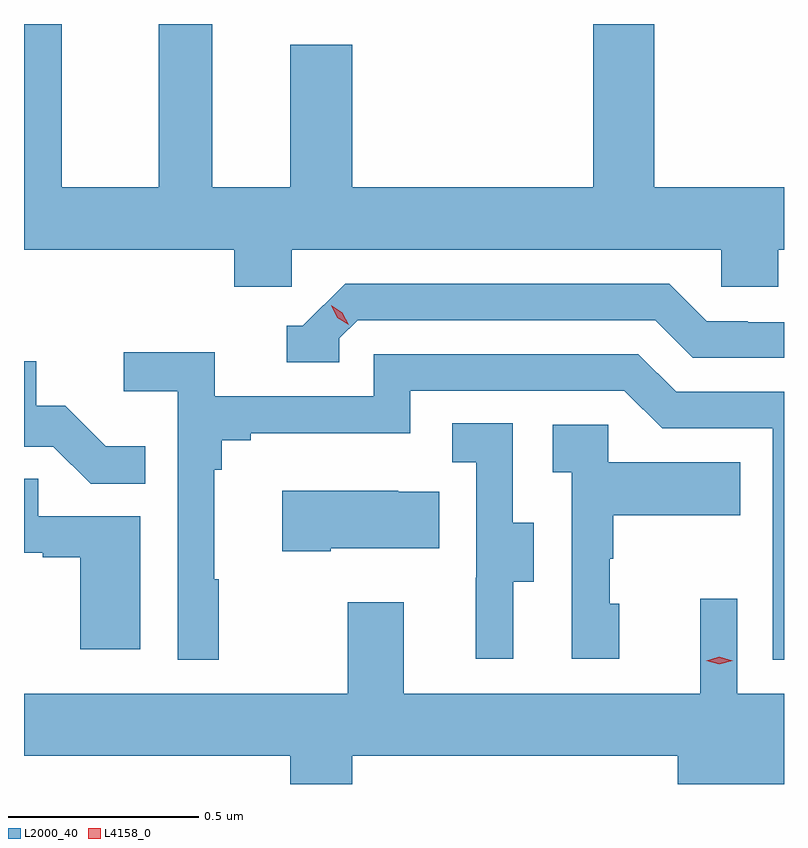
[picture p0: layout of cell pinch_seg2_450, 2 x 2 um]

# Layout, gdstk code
import gdstk
lib = gdstk.Library(unit=1e-6, precision=1e-09)
def P(c, l, *ps):  # polygons
    for p in ps: c.add(gdstk.Polygon(p, *l))
L2000_40 = (2000, 40)
L4158_0 = (4158, 0)

pinch_seg2_450 = lib.new_cell('pinch_seg2_450')
P(pinch_seg2_450, L2000_40, [(908.268,615.668),(909.399,615.668),(909.399,615.57),(909.549,615.57),(909.549,615.668),(909.564,615.668),(909.564,615.832),(909.222,615.832),(909.222,616.262),(909.062,616.262),(909.062,615.832),(908.428,615.832),(908.428,616.207),(908.264,616.207),(908.264,615.832),(908.059,615.832),(908.059,616.262),(907.919,616.262),(907.919,615.832),(907.663,615.832),(907.663,616.262),(907.564,616.262),(907.564,615.668),(908.117,615.668),(908.117,615.57),(908.268,615.57)],
  [(908.394,615.435),(908.442,615.483),(909.225,615.483),(909.324,615.384),(909.564,615.384),(909.564,615.477),(909.468,615.477),(909.468,615.48),(909.361,615.48),(909.262,615.579),(908.409,615.579),(908.298,615.468),(908.255,615.468),(908.255,615.372),(908.394,615.372)],
  [(908.077,614.801),(908.065,614.801),(908.065,615.089),(908.084,615.089),(908.084,615.166),(908.161,615.166),(908.161,615.185),(908.58,615.185),(908.58,615.297),(909.144,615.297),(909.243,615.198),(909.534,615.198),(909.534,614.589),(909.564,614.589),(909.564,615.294),(909.28,615.294),(909.181,615.393),(908.484,615.393),(908.484,615.282),(908.066,615.282),(908.066,615.398),(907.827,615.398),(907.827,615.296),(907.968,615.296),(907.968,614.589),(908.077,614.589)],
  [(907.883,615.151),(907.779,615.151),(907.672,615.258),(907.596,615.258),(907.596,615.375),(907.564,615.375),(907.564,615.15),(907.641,615.15),(907.739,615.052),(907.883,615.052)],
  [(908.851,614.794),(908.905,614.794),(908.905,614.949),(908.85,614.949),(908.85,615.212),(908.691,615.212),(908.691,615.109),(908.754,615.109),(908.754,614.805),(908.753,614.805),(908.753,614.592),(908.851,614.592)],
  [(909.13,614.736),(909.105,614.736),(909.105,614.855),(909.115,614.855),(909.115,614.969),(909.449,614.969),(909.449,615.109),(909.102,615.109),(909.102,615.207),(908.955,615.207),(908.955,615.083),(909.006,615.083),(909.006,614.592),(909.13,614.592)],
  [(907.87,614.967),(907.601,614.967),(907.601,615.065),(907.564,615.065),(907.564,614.871),(907.613,614.871),(907.613,614.859),(907.712,614.859),(907.712,614.616),(907.87,614.616)],
  [(908.371,614.882),(908.657,614.882),(908.657,615.031),(908.549,615.031),(908.549,615.034),(908.243,615.034),(908.243,614.875),(908.371,614.875)],
  [(908.428,614.336),(909.284,614.336),(909.284,614.262),(909.564,614.262),(909.564,614.5),(909.441,614.5),(909.441,614.749),(909.344,614.749),(909.344,614.5),(908.563,614.5),(908.563,614.74),(908.416,614.74),(908.416,614.5),(907.564,614.5),(907.564,614.336),(908.264,614.336),(908.264,614.262),(908.428,614.262)])
P(pinch_seg2_450, L4158_0, [(909.394,614.577),(909.36,614.587),(909.359,614.587),(909.36,614.587),(909.394,614.597),(909.429,614.587),(909.429,614.586),(909.429,614.586)],
  [(908.418,615.47),(908.388,615.489),(908.372,615.522),(908.372,615.522),(908.372,615.522),(908.402,615.502),(908.418,615.47),(908.418,615.47)])

lib.write_gds('pinch_seg2_450.gds')
